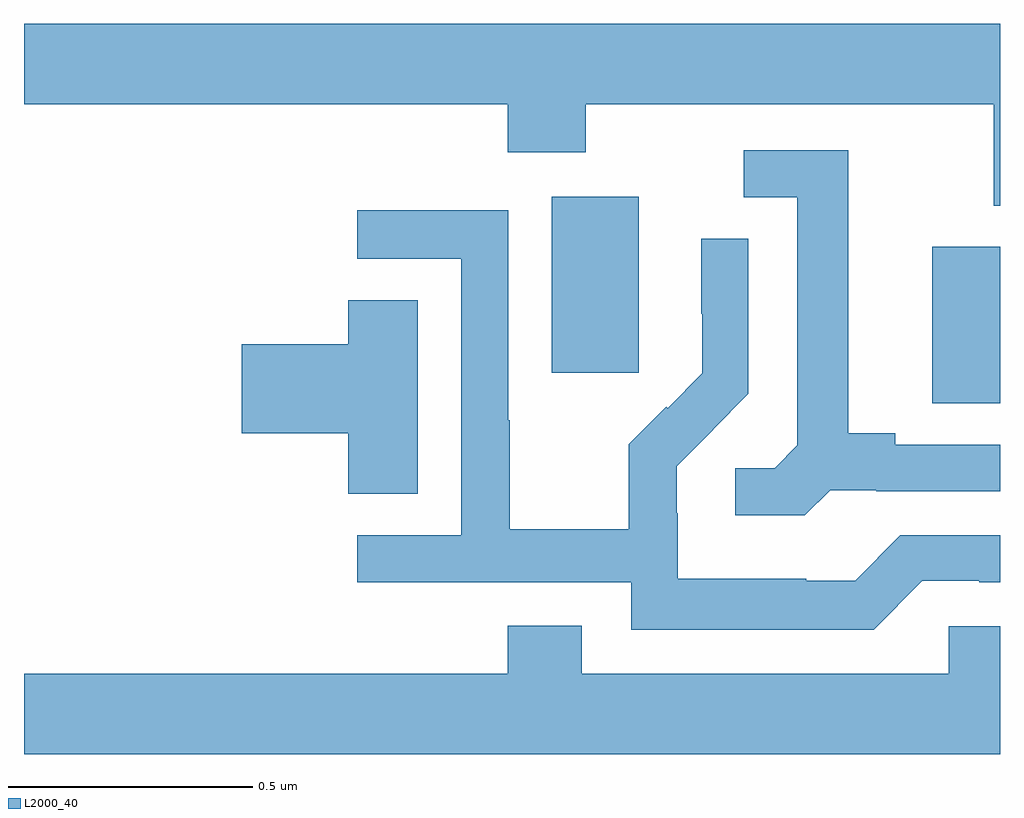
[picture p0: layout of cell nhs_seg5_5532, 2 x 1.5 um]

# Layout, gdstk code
import gdstk
lib = gdstk.Library(unit=1e-6, precision=1e-09)
def R(c, l, rs):  # rectangles x0, y0, x1, y1
    for r in rs: c.add(gdstk.rectangle(r[:2], r[2:], *l))
def P(c, l, *ps):  # polygons
    for p in ps: c.add(gdstk.Polygon(p, *l))
L2000_40 = (2000, 40)

nhs_seg5_5532 = lib.new_cell('nhs_seg5_5532')
R(nhs_seg5_5532, L2000_40, [(185.861,874.795,186,875.115), (185.081,874.857,185.26,875.218)])
P(nhs_seg5_5532, L2000_40, [(186,875.572),(184,875.572),(184,875.408),(184.991,875.408),(184.991,875.309),(185.151,875.309),(185.151,875.408),(185.987,875.408),(185.987,875.2),(186,875.2)],
  [(185.652,874.617),(185.746,874.617),(185.746,874.614),(186,874.614),(186,874.71),(185.785,874.71),(185.785,874.733),(185.689,874.733),(185.689,875.313),(185.475,875.313),(185.475,875.217),(185.585,875.217),(185.585,874.709),(185.538,874.662),(185.457,874.662),(185.457,874.565),(185.6,874.565)],
  [(185.841,874.431),(185.957,874.431),(185.957,874.428),(186,874.428),(186,874.524),(185.796,874.524),(185.703,874.431),(185.603,874.431),(185.603,874.435),(185.34,874.435),(185.34,874.569),(185.338,874.569),(185.338,874.666),(185.412,874.74),(185.411,874.741),(185.484,874.814),(185.484,875.132),(185.388,875.132),(185.388,874.978),(185.39,874.978),(185.39,874.856),(185.319,874.785),(185.316,874.788),(185.239,874.711),(185.239,874.537),(184.995,874.537),(184.995,874.76),(184.992,874.76),(184.992,875.19),(184.683,875.19),(184.683,875.091),(184.896,875.091),(184.896,874.524),(184.683,874.524),(184.683,874.428),(185.244,874.428),(185.244,874.331),(185.741,874.331)],
  [(184.807,875.006),(184.664,875.006),(184.664,874.916),(184.446,874.916),(184.446,874.733),(184.664,874.733),(184.664,874.609),(184.807,874.609)],
  [(186,874.338),(185.895,874.338),(185.895,874.24),(185.143,874.24),(185.143,874.339),(184.991,874.339),(184.991,874.24),(184,874.24),(184,874.076),(186,874.076)])

lib.write_gds('nhs_seg5_5532.gds')
